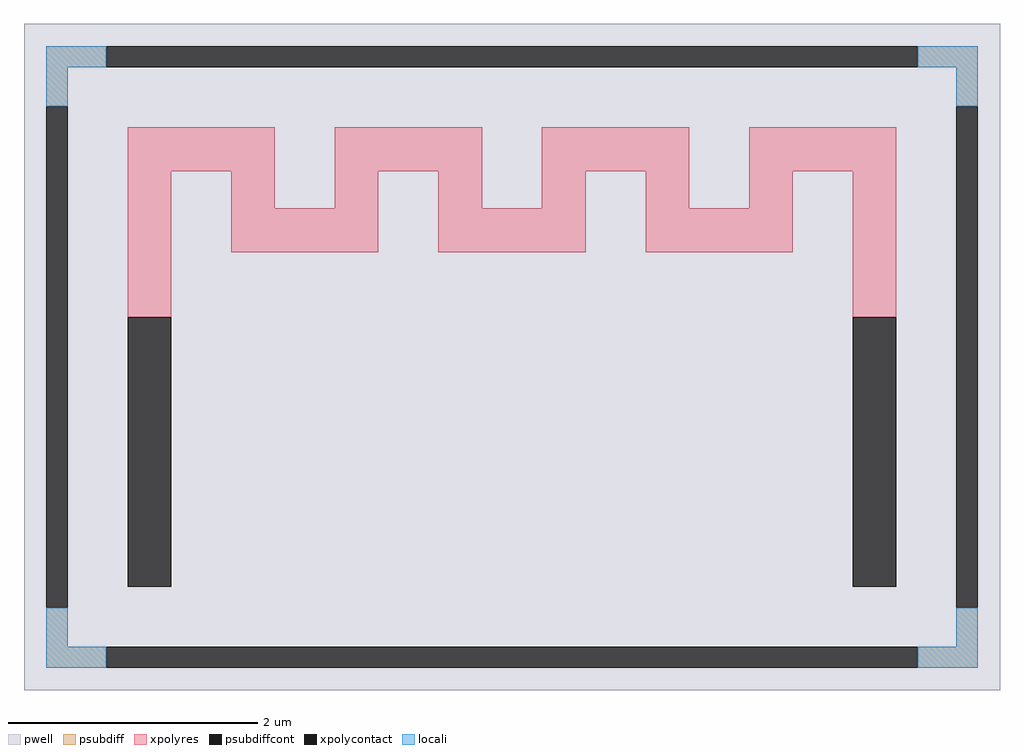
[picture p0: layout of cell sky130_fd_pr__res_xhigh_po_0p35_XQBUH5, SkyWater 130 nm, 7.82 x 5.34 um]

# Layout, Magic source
magic
tech sky130A
<< pwell >>
rect -391 -267 391 267
<< psubdiff >>
rect -373 232 -325 249
rect 325 232 373 249
rect -373 201 -356 232
rect 356 201 373 232
rect -373 -232 -356 -201
rect 356 -232 373 -201
rect -373 -249 -325 -232
rect 325 -249 373 -232
<< psubdiffcont >>
rect -325 232 325 249
rect -373 -201 -356 201
rect 356 -201 373 201
rect -325 -249 325 -232
<< xpolycontact >>
rect -308 -184 -273 32
rect 273 -184 308 32
<< xpolyres >>
rect -308 149 -190 184
rect -308 32 -273 149
rect -225 119 -190 149
rect -142 149 -24 184
rect -142 119 -107 149
rect -225 84 -107 119
rect -59 119 -24 149
rect 24 149 142 184
rect 24 119 59 149
rect -59 84 59 119
rect 107 119 142 149
rect 190 149 308 184
rect 190 119 225 149
rect 107 84 225 119
rect 273 32 308 149
<< locali >>
rect -373 232 -325 249
rect 325 232 373 249
rect -373 201 -356 232
rect 356 201 373 232
rect -373 -232 -356 -201
rect 356 -232 373 -201
rect -373 -249 -325 -232
rect 325 -249 373 -232
<< properties >>
string FIXED_BBOX -364 -240 364 240
string gencell sky130_fd_pr__res_xhigh_po_0p35
string library sky130
string parameters w 0.35 l 1.0 m 1 nx 8 wmin 0.350 lmin 0.50 rho 2000 val 60.789k dummy 0 dw 0.0 term 188.2 sterm 0.0 caplen 0 wmax 0.350 guard 1 glc 1 grc 1 gtc 1 gbc 1 compatible {sky130_fd_pr__res_xhigh_po_0p35  sky130_fd_pr__res_xhigh_po_0p69 sky130_fd_pr__res_xhigh_po_1p41  sky130_fd_pr__res_xhigh_po_2p85 sky130_fd_pr__res_xhigh_po_5p73} snake 1 full_metal 1 n_guard 0 hv_guard 0 vias 1 viagb 0 viagt 0 viagl 0 viagr 0
<< end >>
